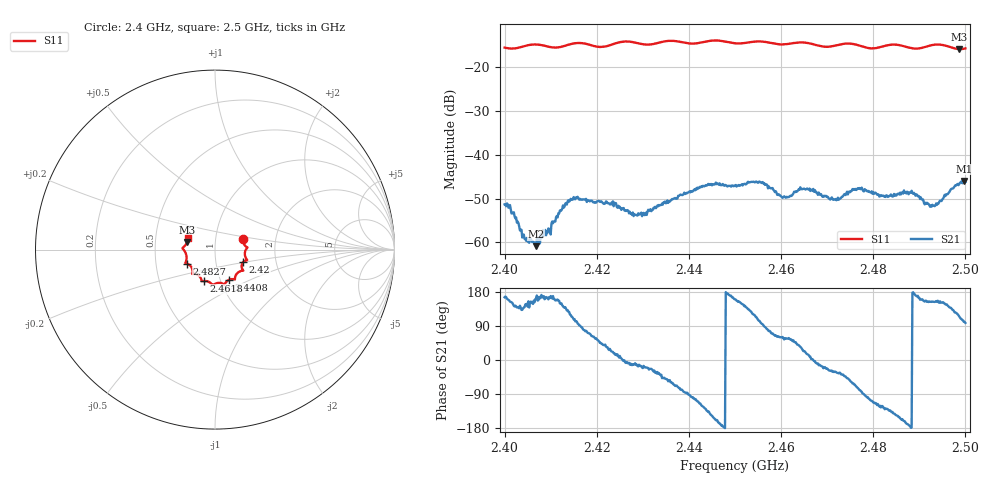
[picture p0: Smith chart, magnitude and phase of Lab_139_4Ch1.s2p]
# Hz S RI R 50
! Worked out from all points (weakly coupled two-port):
!   601 points, 2.4 GHz to 2.5 GHz, reference 50 ohm
!   highest |S21| = -45.98 dB at 2.4997 GHz (marker M1); lowest = -60.9 dB at 2.4068 GHz (marker M2)
!   lowest |S11| = -15.9 dB at 2.4987 GHz (marker M3), VSWR 1.38, Z = 36.5 + j3.23 ohm
!   |S11| at or under -10 dB: start of sweep to end of sweep
!   S12 and S22 are empty: the file has one direction only
!   S11 on the Smith chart (normalised r, x): 2.4 GHz: 1.36, +0.17; 2.42 GHz: 1.36, -0.19; 2.4408 GHz: 1.10, -0.38; 2.4618 GHz: 0.84, -0.30; 2.4827 GHz: 0.72, -0.12; 2.5 GHz: 0.73, +0.09
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2.4e9  0.1554 0.0616  -0.00263 0.000675  0 0  0 0
2.404833e9  0.1762 0.0146  -0.000961 0.000588  0 0  0 0
2.406833e9  0.1812 0.0117  -0.00086 0.000284  0 0  0 0
2.413667e9  0.1727 -0.0481  -0.00196 0.00219  0 0  0 0
2.416667e9  0.1788 -0.059  0.0002 0.00308  0 0  0 0
2.42e9  0.1571 -0.0691  0.00166 0.00242  0 0  0 0
2.4285e9  0.1489 -0.118  0.002 -0.000448  0 0  0 0
2.433333e9  0.112 -0.1527  0.00209 -0.00152  0 0  0 0
2.440833e9  0.0779 -0.1687  -0.00054 -0.00379  0 0  0 0
2.45e9  0.0273 -0.1852  -0.00415 0.00148  0 0  0 0
2.455667e9  -0.0128 -0.1959  -0.000583 0.00478  0 0  0 0
2.461833e9  -0.0611 -0.1749  0.00186 0.00277  0 0  0 0
2.466667e9  -0.0762 -0.1681  0.00398 0.000181  0 0  0 0
2.471667e9  -0.1118 -0.1357  0.00265 -0.00157  0 0  0 0
2.477e9  -0.125 -0.1244  0.000779 -0.0041  0 0  0 0
2.482667e9  -0.1579 -0.0775  -0.00203 -0.0026  0 0  0 0
2.483333e9  -0.1616 -0.0763  -0.00226 -0.00245  0 0  0 0
2.4885e9  -0.1584 -0.0427  -0.00368 0.000146  0 0  0 0
2.492833e9  -0.1788 0.00383  -0.00242 0.00117  0 0  0 0
2.498667e9  -0.1547 0.0431  -0.00194 0.00422  0 0  0 0
2.499667e9  -0.1515 0.0579  -0.000942 0.00494  0 0  0 0
2.5e9  -0.1512 0.0627  -0.000665 0.00484  0 0  0 0
